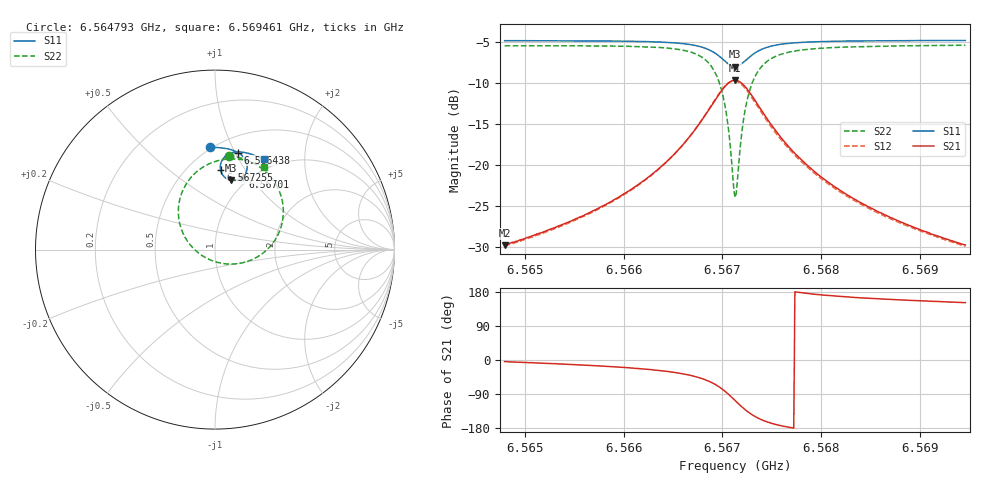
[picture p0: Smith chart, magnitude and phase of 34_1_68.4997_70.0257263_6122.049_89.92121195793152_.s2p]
#  HZ  S  RI  R  50.00
! Rohde & Schwarz Vector Network Analyzer
! Rohde-Schwarz,ZNB20-2Port,1311601062101988,3.16
! Created: UTC 3/20/2024, 4:50:03 PM
! freq[Hz]  re:S11  im:S11  re:S21  im:S21  re:S12  im:S12  re:S22  im:S22
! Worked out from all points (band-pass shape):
!   401 points, 6.564793 GHz to 6.569461 GHz, reference 50 ohm
!   highest |S21| = -9.71 dB at 6.567127 GHz (marker M1); lowest = -29.7 dB at 6.564793 GHz (marker M2)
!   |S21| within 3 dB of the highest: 6.566893 GHz to 6.56736 GHz (467.4 kHz wide, 0.00712 % of centre)
!   lowest |S11| = -8.1 dB at 6.567127 GHz (marker M3), VSWR 2.31, Z = 42.9 + j39.3 ohm
!   |S11| at or under -10 dB: nowhere
!   |S22| runs from -23.9 to -5.4 dB; largest |S21 - S12| = 0.017
!   S11 on the Smith chart (normalised r, x): 6.564793 GHz: 0.49, +0.82; 6.566438 GHz: 0.66, +1.03; 6.56701 GHz: 0.93, +0.93; 6.567255 GHz: 0.71, +0.78; 6.569461 GHz: 0.86, +1.28
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6.5647929e9  -0.0276 0.5688  0.0325 -0.0024  0.0321 -0.00304  0.0773 0.5242
6.5655748e9  0.0388 0.5667  0.0475 -0.0112  0.0468 -0.0117  0.1584 0.5054
6.5659949e9  0.0783 0.5598  0.0626 -0.0222  0.0615 -0.023  0.2146 0.4812
6.5663567e9  0.1176 0.5462  0.0844 -0.0441  0.0832 -0.0451  0.2796 0.436
6.5664384e9  0.1276 0.5409  0.0912 -0.0528  0.09 -0.054  0.2976 0.4186
6.5666601e9  0.157 0.5173  0.1131 -0.0937  0.1113 -0.0958  0.3526 0.3384
6.5668352e9  0.1774 0.4778  0.1229 -0.164  0.1195 -0.1678  0.3807 0.2026
6.5669402e9  0.1759 0.4372  0.1014 -0.235  0.0945 -0.24  0.3426 0.0674
6.5670102e9  0.1574 0.4063  0.0545 -0.2877  0.0431 -0.2915  0.2532 -0.0299
6.5670569e9  0.1339 0.3902  0.00277 -0.3135  -0.0117 -0.314  0.156 -0.073
6.5671036e9  0.1032 0.3839  -0.0609 -0.3197  -0.0767 -0.315  0.0393 -0.077
6.5671269e9  0.0869 0.3859  -0.0938 -0.3133  -0.1089 -0.3056  -0.0188 -0.0607
6.5671503e9  0.0717 0.3914  -0.1247 -0.3004  -0.1386 -0.2903  -0.0719 -0.0335
6.5672086e9  0.0425 0.4167  -0.1836 -0.248  -0.1919 -0.2338  -0.1669 0.0684
6.5672553e9  0.0315 0.4421  -0.2073 -0.1978  -0.2108 -0.1833  -0.1999 0.1602
6.5673487e9  0.0345 0.4865  -0.2088 -0.1122  -0.2068 -0.1014  -0.1875 0.3093
6.5674887e9  0.0617 0.523  -0.1726 -0.0417  -0.1687 -0.0357  -0.1089 0.4276
6.5676521e9  0.0936 0.539  -0.1328 -0.00817  -0.1295 -0.00479  -0.0264 0.4809
6.5679089e9  0.1326 0.544  -0.0933 0.00951  -0.0909 0.0111  0.0607 0.5038
6.568259e9  0.1725 0.5394  -0.0643 0.0156  -0.0629 0.0161  0.1346 0.5033
6.5686908e9  0.2122 0.5283  -0.0455 0.0165  -0.0444 0.0168  0.1952 0.4908
6.569461e9  0.2721 0.502  -0.0287 0.0156  -0.028 0.0157  0.2711 0.4601
